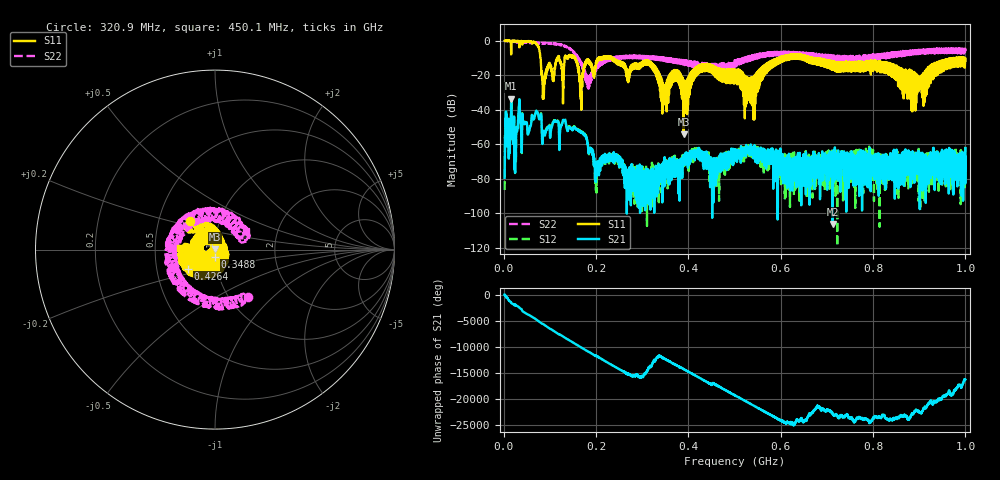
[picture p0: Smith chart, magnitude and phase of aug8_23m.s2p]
!Keysight Technologies N9923A: A.12.45
!Date: Friday, 08 August 2025 17:45:39
!Timezone: (UTC+08:00) Kuala Lumpur, Singapore
!Model: N9923A
!Serial: MY61181427
!GPS Latitude:
!GPS Longitude:
!GPS TimeStamp: 0001-01-01 00:00:00Z
!GPS Seconds Since Last Read: 0
!CHECKSUM:0132950265
!Correction: S11(ON U)S21(ON U)S12(ON U)S22(ON U)
!S2P File: Measurements:S11,S21,S12,S22:
# Hz S DB R 50
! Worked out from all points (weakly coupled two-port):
!   4001 points, 2 MHz to 1 GHz, reference 50 ohm
!   highest |S21| = -33.64 dB at 16.22 MHz (marker M1); lowest = -106.3 dB at 712.6 MHz (marker M2)
!   lowest |S11| = -54.3 dB at 389.5 MHz (marker M3), VSWR 1.00, Z = 50.1 + j0.13 ohm
!   |S11| at or under -10 dB: 155.1 MHz to 205.9 MHz (50.74 MHz wide, 28.1 % of centre); 236 MHz to 596.2 MHz (360.2 MHz wide, 86.6 % of centre); 668.9 MHz to 980.9 MHz (311.9 MHz wide, 37.8 % of centre) (the widest 3 of 84)
!   |S22| runs from -28.0 to 0.1 dB; largest |S21 - S12| = 0.0011
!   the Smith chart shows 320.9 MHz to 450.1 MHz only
!   S11 on the Smith chart (normalised r, x): 320.9 MHz: 0.72, +0.24; 348.8 MHz: 1.00, -0.08; 426.4 MHz: 0.72, -0.16; 450.1 MHz: 0.68, +0.01
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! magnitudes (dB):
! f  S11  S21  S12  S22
! 2 MHz  -0.1  -79.6  -86.6  0.0
! 16.22 MHz  -8.1  -33.6  -33.7  -0.6
! 70.86 MHz  -2.0  -40.7  -40.4  -1.3
! 86.83 MHz  -33.7  -52.8  -52.3  -1.7
! 145.2 MHz  -8.5  -50.9  -50.6  -5.4
! 168.4 MHz  -35.8  -53.0  -52.8  -13.7
! 202.1 MHz  -12.7  -72.0  -73.9  -15.7
! 233.8 MHz  -10.3  -68.0  -66.8  -11.4
! 320.9 MHz  -13.5  -77.4  -76.5  -9.9
! 334.8 MHz  -19.3  -73.7  -71.2  -11.4
! 348.8 MHz  -27.7  -72.0  -70.3  -10.4
! 372 MHz  -17.3  -71.8  -69.3  -12.6
! 389.5 MHz  -54.3  -71.8  -71.1  -11.3
! 426.4 MHz  -14.7  -68.0  -66.1  -12.8
! 450.1 MHz  -14.2  -72.9  -72.6  -13.8
! 501 MHz  -16.7  -66.9  -63.5  -15.0
! 538.2 MHz  -24.1  -63.0  -63.0  -11.2
! 667.4 MHz  -10.3  -67.9  -71.9  -8.3
! 712.6 MHz  -13.1  -106.3  -75.9  -8.6
! 833.8 MHz  -18.4  -78.1  -68.2  -8.2
! 906.2 MHz  -23.3  -71.5  -74.3  -6.7
! 1 GHz  -11.6  -62.4  -61.6  -6.1
